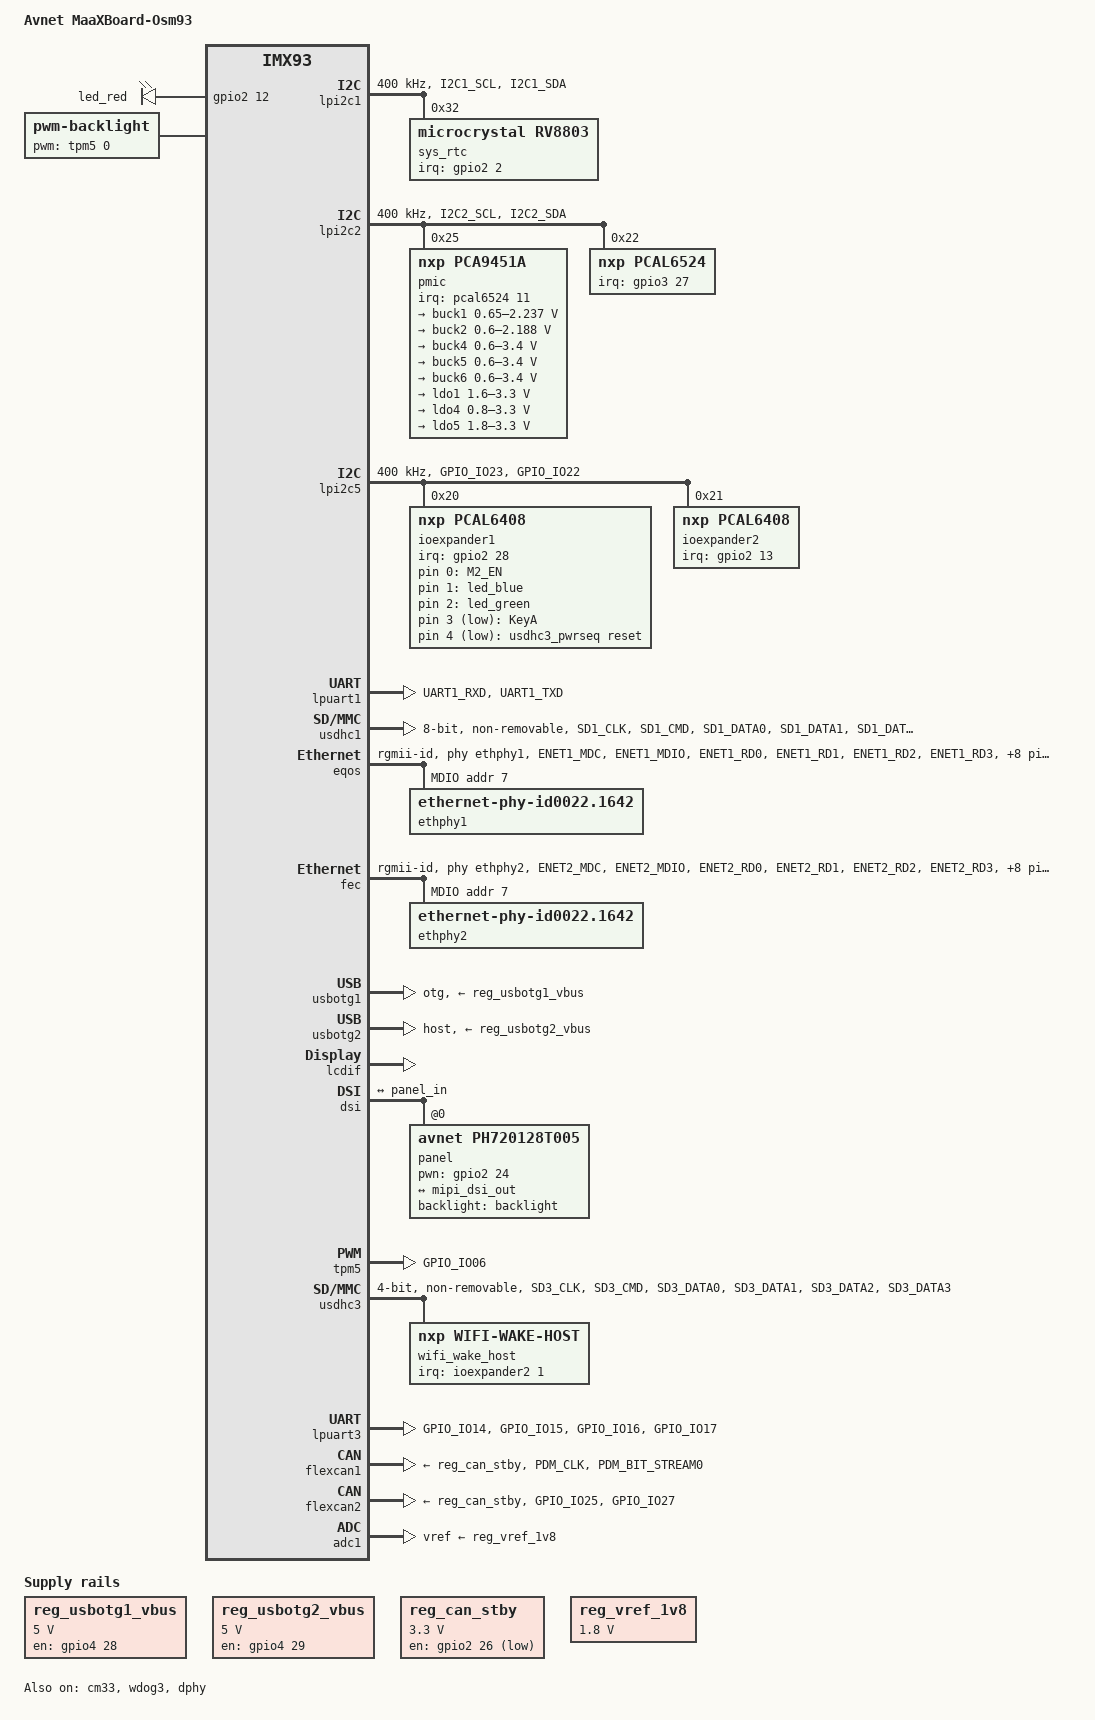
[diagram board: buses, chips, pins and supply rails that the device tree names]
// SPDX-License-Identifier: (GPL-2.0+ OR MIT)
/*
 * Copyright 2024 Avnet
 */

/dts-v1/;

#include <dt-bindings/usb/pd.h>
#include "imx93.dtsi"

&ele_fw2 {
	memory-region = <&ele_reserved>;
};

/ {
	model = "Avnet MaaXBoard-Osm93";
	compatible = "avnet,maaxboard-osm93", "fsl,imx93";

	aliases {
		rtc0 = &sys_rtc;
		rtc1 = &bbnsm_rtc;
	};

	chosen {
		stdout-path = &lpuart1;
	};

	reserved-memory {
		#address-cells = <2>;
		#size-cells = <2>;
		ranges;

		linux,cma {
			compatible = "shared-dma-pool";
			reusable;
			alloc-ranges = <0 0x80000000 0 0x40000000>;
			size = <0 0x10000000>;
			linux,cma-default;
		};

		ethosu_mem: ethosu_region@B0000000 {
			compatible = "shared-dma-pool";
			reusable;
			reg = <0x0 0xB0000000 0x0 0x8000000>;
		};

		vdev0vring0: vdev0vring0@a4000000 {
			reg = <0 0xa4000000 0 0x8000>;
			no-map;
		};

		vdev0vring1: vdev0vring1@a4008000 {
			reg = <0 0xa4008000 0 0x8000>;
			no-map;
		};

		vdev1vring0: vdev1vring0@a4010000 {
			reg = <0 0xa4010000 0 0x8000>;
			no-map;
		};

		vdev1vring1: vdev1vring1@a4018000 {
			reg = <0 0xa4018000 0 0x8000>;
			no-map;
		};

		rsc_table: rsc-table@2021e000 {
			reg = <0 0x2021e000 0 0x1000>;
			no-map;
		};

		vdevbuffer: vdevbuffer@a4020000 {
			compatible = "shared-dma-pool";
			reg = <0 0xa4020000 0 0x100000>;
			no-map;
		};

		ele_reserved: ele-reserved@a4120000 {
			compatible = "shared-dma-pool";
			reg = <0 0xa4120000 0 0x100000>;
			no-map;
		};
	};

	ethosu {
		compatible = "arm,ethosu";
		fsl,cm33-proc = <&cm33>;
		memory-region = <&ethosu_mem>;
		power-domains = <&mlmix>;
	};

	reg_usbotg1_vbus: regulator-usbotg1-vbus {
		compatible = "regulator-fixed";
		pinctrl-names = "default";
		pinctrl-0 = <&pinctrl_reg_usbotg1>;
		regulator-name = "regulator-usbotg1-vbus";
		gpio = <&gpio4 28 GPIO_ACTIVE_HIGH>;
		regulator-min-microvolt = <5000000>;
		regulator-max-microvolt = <5000000>;
		enable-active-high;
	};

	reg_usbotg2_vbus: regulator-usbotg2-vbus {
		compatible = "regulator-fixed";
		pinctrl-names = "default";
		pinctrl-0 = <&pinctrl_reg_usbotg2>;
		regulator-name = "regulator-usbotg2-vbus";
		gpio = <&gpio4 29 GPIO_ACTIVE_HIGH>;
		regulator-min-microvolt = <5000000>;
		regulator-max-microvolt = <5000000>;
		enable-active-high;
	};

	leds {
        compatible = "gpio-leds";
		pinctrl-names = "default";
		pinctrl-0 = <&pinctrl_gpio_leds>;
        status = "okay";

		M2_EN {
                gpios = <&ioexpander1 0 GPIO_ACTIVE_HIGH>;     /* WiFi/Bluetooth module power pin */
                default-state = "on";
        };

        led_red {
                gpios = <&gpio2 12 GPIO_ACTIVE_HIGH>;
				default-state = "on";
				linux,default-trigger = "heartbeat";

        };

        led_blue {
                gpios = <&ioexpander1 1 GPIO_ACTIVE_HIGH>;
                default-state = "off";
        };

        led_green {
                gpios = <&ioexpander1 2 GPIO_ACTIVE_HIGH>;
                default-state = "off";
        };
	};

	gpio_keys {
		compatible = "gpio-keys";

		UserKeyA {
			label = "KeyA";
			gpios = <&ioexpander1 3 GPIO_ACTIVE_LOW>;
			interrupt-parent = <&ioexpander1>;
			interrupts = <3 IRQ_TYPE_LEVEL_LOW>;
			linux,code = <KEY_1>;
		};
	};

	backlight: pwm-backlight {
	        compatible = "pwm-backlight";
	        pwms = <&tpm5 0 40000 0>;
	        brightness-levels = <0 8 32 64 96 128 160 192 224 255>;
	        default-brightness-level = <8>;
	        enable-pwm-on;
	        status = "okay";
	};
    
	/* wifi & bluetooth */
	usdhc3_pwrseq: usdhc3_pwrseq {
		compatible = "mmc-pwrseq-simple";
		reset-gpios = <&ioexpander1 4 GPIO_ACTIVE_LOW>;
	};

	reg_can_stby: regulator-can-stby {
		compatible = "regulator-fixed";
		pinctrl-names = "default";
		pinctrl-0 = <&pinctrl_reg_can>;
		regulator-name = "can-stby";
		regulator-min-microvolt = <3300000>;
		regulator-max-microvolt = <3300000>;
		gpio = <&gpio2 26 GPIO_ACTIVE_LOW>;
		enable-active-low;
	};

	reg_vref_1v8: regulator-adc-vref {
		compatible = "regulator-fixed";
		regulator-name = "vref_1v8";
		regulator-min-microvolt = <1800000>;
		regulator-max-microvolt = <1800000>;
	};

};

&cm33 {
	mbox-names = "tx", "rx", "rxdb";
	mboxes = <&mu1 0 1>,
		 <&mu1 1 1>,
		 <&mu1 3 1>;
	memory-region = <&vdevbuffer>, <&vdev0vring0>, <&vdev0vring1>,
			<&vdev1vring0>, <&vdev1vring1>, <&rsc_table>;
	fsl,startup-delay-ms = <500>;
	status = "okay";
};

&lpi2c1 {
	#address-cells = <1>;
	#size-cells = <0>;
	clock-frequency = <400000>;
	pinctrl-names = "default", "sleep";
	pinctrl-0 = <&pinctrl_lpi2c1>;
	pinctrl-1 = <&pinctrl_lpi2c1>;
	status = "okay";

	sys_rtc: rtc@32 {
		compatible = "microcrystal,rv8803";
		reg = <0x32>;
		pinctrl-names = "default";
		pinctrl-0 = <&pinctrl_rtc>;
		interrupt-parent = <&gpio2>;
		interrupts = <2 IRQ_TYPE_LEVEL_LOW>;
		wakeup-source;
	};

};

&lpi2c2 {
	#address-cells = <1>;
	#size-cells = <0>;
	clock-frequency = <400000>;
	pinctrl-names = "default", "sleep";
	pinctrl-0 = <&pinctrl_lpi2c2>;
	pinctrl-1 = <&pinctrl_lpi2c2>;
	status = "okay";

	pmic@25 {
		compatible = "nxp,pca9451a";
		reg = <0x25>;
		interrupt-parent = <&pcal6524>;
		interrupts = <11 IRQ_TYPE_EDGE_FALLING>;

		regulators {
			buck1: BUCK1 {
				regulator-name = "BUCK1";
				regulator-min-microvolt = <650000>;
				regulator-max-microvolt = <2237500>;
				regulator-boot-on;
				regulator-always-on;
				regulator-ramp-delay = <3125>;
			};

			buck2: BUCK2 {
				regulator-name = "BUCK2";
				regulator-min-microvolt = <600000>;
				regulator-max-microvolt = <2187500>;
				regulator-boot-on;
				regulator-always-on;
				regulator-ramp-delay = <3125>;
			};

			buck4: BUCK4{
				regulator-name = "BUCK4";
				regulator-min-microvolt = <600000>;
				regulator-max-microvolt = <3400000>;
				regulator-boot-on;
				regulator-always-on;
			};

			buck5: BUCK5{
				regulator-name = "BUCK5";
				regulator-min-microvolt = <600000>;
				regulator-max-microvolt = <3400000>;
				regulator-boot-on;
				regulator-always-on;
			};

			buck6: BUCK6 {
				regulator-name = "BUCK6";
				regulator-min-microvolt = <600000>;
				regulator-max-microvolt = <3400000>;
				regulator-boot-on;
				regulator-always-on;
			};

			ldo1: LDO1 {
				regulator-name = "LDO1";
				regulator-min-microvolt = <1600000>;
				regulator-max-microvolt = <3300000>;
				regulator-boot-on;
				regulator-always-on;
			};

			ldo4: LDO4 {
				regulator-name = "LDO4";
				regulator-min-microvolt = <800000>;
				regulator-max-microvolt = <3300000>;
				regulator-boot-on;
				regulator-always-on;
			};

			ldo5: LDO5 {
				regulator-name = "LDO5";
				regulator-min-microvolt = <1800000>;
				regulator-max-microvolt = <3300000>;
				regulator-boot-on;
				regulator-always-on;
			};
		};
	};

	pcal6524: gpio@22 {
		compatible = "nxp,pcal6524";
		pinctrl-names = "default";
		pinctrl-0 = <&pinctrl_pcal6524>;
		reg = <0x22>;
		gpio-controller;
		#gpio-cells = <2>;
		interrupt-controller;
		#interrupt-cells = <2>;
		interrupt-parent = <&gpio3>;
		interrupts = <27 IRQ_TYPE_LEVEL_LOW>;
	};
};

&lpi2c5 {
    #address-cells = <1>;
    #size-cells = <0>;
    clock-frequency = <400000>;
    pinctrl-names = "default", "sleep";
    pinctrl-0 = <&pinctrl_lpi2c5>;
    pinctrl-1 = <&pinctrl_lpi2c5>;
    status = "okay";

    ioexpander1: gpio@20 {
        compatible = "nxp,pcal6408";
        reg = <0x20>;
        pinctrl-names = "default";
        pinctrl-0 = <&pinctrl_ioexpander1>;
        interrupt-controller;
        #interrupt-cells = <2>;
        interrupt-parent = <&gpio2>;
        interrupts = <28 IRQ_TYPE_LEVEL_LOW>;
        gpio-controller;
        #gpio-cells = <2>;
        gpio-line-names =
                "GPIO_A_0", "GPIO_A_1", "GPIO_A_2", "GPIO_A_3",
                "GPIO_C_4", "GPIO_C_5", "GPIO_C_6", "GPIO_C_7";
        status = "okay";
    };

	ioexpander2: gpio@21 {
        compatible = "nxp,pcal6408";
        reg = <0x21>;
        pinctrl-names = "default";
        pinctrl-0 = <&pinctrl_ioexpander2>;
        interrupt-controller;
        #interrupt-cells = <2>;
        interrupt-parent = <&gpio2>;
        interrupts = <13 IRQ_TYPE_LEVEL_LOW>;
        gpio-controller;
        #gpio-cells = <2>;
        gpio-line-names =
                "GPIO_B_0", "GPIO_B_1", "GPIO_B_2", "GPIO_B_3",
                "GPIO_B_4", "GPIO_B_5", "GPIO_B_6", "GPIO_B_7";
        status = "okay";
    };
};

&lpuart1 { /* console */
	pinctrl-names = "default";
	pinctrl-0 = <&pinctrl_uart1>;
	status = "okay";
};

&usdhc1 {
	pinctrl-names = "default", "state_100mhz", "state_200mhz";
	pinctrl-0 = <&pinctrl_usdhc1>;
	pinctrl-1 = <&pinctrl_usdhc1_100mhz>;
	pinctrl-2 = <&pinctrl_usdhc1_200mhz>;
	bus-width = <8>;
	non-removable;
	status = "okay";
};

&wdog3 {
	status = "okay";
};

&eqos {
	pinctrl-names = "default";
	pinctrl-0 = <&pinctrl_eqos>;
	phy-mode = "rgmii-id";
	phy-handle = <&ethphy1>;
	status = "okay";
	mdio {
		compatible = "snps,dwmac-mdio";
		#address-cells = <1>;
		#size-cells = <0>;
		ethphy1: ethernet-phy@7 {
			compatible = "ethernet-phy-id0022.1642",
							"ethernet-phy-ieee802.3-c22";
			reg = <7>;
			eee-broken-100tx;
			eee-broken-1000t;
		};
	};
};

&fec {
	pinctrl-names = "default";
	pinctrl-0 = <&pinctrl_fec>;
	phy-mode = "rgmii-id";
	phy-handle = <&ethphy2>;
	fsl,magic-packet;
	status = "okay";
	mdio {
		#address-cells = <1>;
		#size-cells = <0>;
		clock-frequency = <5000000>;
		ethphy2: ethernet-phy@7 {
			compatible = "ethernet-phy-id0022.1642",
						"ethernet-phy-ieee802.3-c22";
			reg = <7>;
			eee-broken-100tx;
			eee-broken-1000t;
		};
	};
};	

&usbotg1 {
	dr_mode = "otg";
	hnp-disable;
	srp-disable;
	adp-disable;
	usb-role-switch;
	disable-over-current;
	samsung,picophy-pre-emp-curr-control = <3>;
	samsung,picophy-dc-vol-level-adjust = <7>;
	vbus-supply = <&reg_usbotg1_vbus>;
	status = "okay";
};

&usbotg2 {
	dr_mode = "host";
	disable-over-current;
	samsung,picophy-pre-emp-curr-control = <3>;
	samsung,picophy-dc-vol-level-adjust = <7>;
	vbus-supply = <&reg_usbotg2_vbus>;
	status = "okay";
};

&dphy {
	status = "okay";
};

&lcdif {
	status = "okay";
	assigned-clock-rates = <282000000>, <70500000>,  <400000000>, <133333333>;
	max-memory-bandwidth = <221257728>; /* 720x1280-32@60.02 */
};

&dsi{
	status = "okay";
	#address-cells = <1>;
	#size-cells = <0>;

	panel@0 {
		compatible = "avnet,ph720128t005", "ilitek,ili9881c";
		//compatible = "avnet,ph720128t003", "ilitek,ili9881c";
		reg = <0>;
		pinctrl-names = "default";
		pinctrl-0 = <&pinctrl_mipi_dsi_en>;
		pwn-gpios = <&gpio2 24 GPIO_ACTIVE_HIGH>;
		dsi-lanes = <2>;
		backlight = <&backlight>;

		port {
			panel_in: endpoint {
				remote-endpoint = <&mipi_dsi_out>;
			};
		};

	};

	ports {
		#address-cells = <1>;
		#size-cells = <0>;

		port@1 {
			reg = <1>;
			mipi_dsi_out: endpoint {
			remote-endpoint = <&panel_in>;
			};
		};
	};
};

&tpm5 {
	pinctrl-names = "default";
	pinctrl-0 = <&pinctrl_pwm5>;
	status = "okay";
};

&usdhc3 {
	pinctrl-names = "default", "state_100mhz", "state_200mhz";
	pinctrl-0 = <&pinctrl_usdhc3>;
	pinctrl-1 = <&pinctrl_usdhc3>;
	pinctrl-2 = <&pinctrl_usdhc3>;
	mmc-pwrseq = <&usdhc3_pwrseq>;
	max-frequency = <100000000>;
	bus-width = <4>;
	keep-power-in-suspend;
	non-removable;
	wakeup-source;
	fsl,sdio-async-interrupt-enabled;
	status = "okay";

	wifi_wake_host {
		compatible = "nxp,wifi-wake-host";
		interrupt-parent = <&ioexpander2>;
		interrupts = <1 IRQ_TYPE_LEVEL_LOW>;
		interrupt-names = "host-wake";
	};

};

&lpuart3 {
       /* BlueTooth */
       pinctrl-names = "default", "sleep";
       pinctrl-0 = <&pinctrl_lpuart3>;
       pinctrl-1 = <&pinctrl_lpuart3>;
       status = "okay";
};

&flexcan1 {
	pinctrl-names = "default";
	pinctrl-0 = <&pinctrl_flexcan1>;
	xceiver-supply = <&reg_can_stby>;
	status = "okay";
};

&flexcan2 {
	pinctrl-names = "default";
	pinctrl-0 = <&pinctrl_flexcan2>;
	xceiver-supply = <&reg_can_stby>;
	status = "okay";
};

&adc1 {
	vref-supply = <&reg_vref_1v8>;
	status = "okay";
};

&iomuxc {
	pinctrl_lpi2c1: lpi2c1grp {
		fsl,pins = <
			MX93_PAD_I2C1_SCL__LPI2C1_SCL			0x40000b9e
			MX93_PAD_I2C1_SDA__LPI2C1_SDA			0x40000b9e
		>;
	};

	pinctrl_ts: ts_pinsgrp {
		fsl,pins = <
			MX93_PAD_PDM_BIT_STREAM1__GPIO1_IO10	   0x31e  /* DSI_TS_RST  */
			MX93_PAD_GPIO_IO29__GPIO2_IO29             0x31e
		>;
	};

	pinctrl_lpi2c2: lpi2c2grp {
		fsl,pins = <
			MX93_PAD_I2C2_SCL__LPI2C2_SCL			0x40000b9e
			MX93_PAD_I2C2_SDA__LPI2C2_SDA			0x40000b9e
		>;
	};

	pinctrl_pcal6524: pcal6524grp {
		fsl,pins = <
			MX93_PAD_CCM_CLKO2__GPIO3_IO27			0x31e
		>;
	};

	pinctrl_uart1: uart1grp {
		fsl,pins = <
			MX93_PAD_UART1_RXD__LPUART1_RX			0x31e
			MX93_PAD_UART1_TXD__LPUART1_TX			0x31e
		>;
	};

	/* need to config the SION for data and cmd pad, refer to ERR052021 */
	pinctrl_usdhc1: usdhc1grp {
		fsl,pins = <
			MX93_PAD_SD1_CLK__USDHC1_CLK		0x1582
			MX93_PAD_SD1_CMD__USDHC1_CMD		0x40001382
			MX93_PAD_SD1_DATA0__USDHC1_DATA0	0x40001382
			MX93_PAD_SD1_DATA1__USDHC1_DATA1	0x40001382
			MX93_PAD_SD1_DATA2__USDHC1_DATA2	0x40001382
			MX93_PAD_SD1_DATA3__USDHC1_DATA3	0x40001382
			MX93_PAD_SD1_DATA4__USDHC1_DATA4	0x40001382
			MX93_PAD_SD1_DATA5__USDHC1_DATA5	0x40001382
			MX93_PAD_SD1_DATA6__USDHC1_DATA6	0x40001382
			MX93_PAD_SD1_DATA7__USDHC1_DATA7	0x40001382
			MX93_PAD_SD1_STROBE__USDHC1_STROBE	0x1582
		>;
	};

	/* need to config the SION for data and cmd pad, refer to ERR052021 */
	pinctrl_usdhc1_100mhz: usdhc1-100mhzgrp {
		fsl,pins = <
			MX93_PAD_SD1_CLK__USDHC1_CLK		0x158e
			MX93_PAD_SD1_CMD__USDHC1_CMD		0x4000138e
			MX93_PAD_SD1_DATA0__USDHC1_DATA0	0x4000138e
			MX93_PAD_SD1_DATA1__USDHC1_DATA1	0x4000138e
			MX93_PAD_SD1_DATA2__USDHC1_DATA2	0x4000138e
			MX93_PAD_SD1_DATA3__USDHC1_DATA3	0x4000138e
			MX93_PAD_SD1_DATA4__USDHC1_DATA4	0x4000138e
			MX93_PAD_SD1_DATA5__USDHC1_DATA5	0x4000138e
			MX93_PAD_SD1_DATA6__USDHC1_DATA6	0x4000138e
			MX93_PAD_SD1_DATA7__USDHC1_DATA7	0x4000138e
			MX93_PAD_SD1_STROBE__USDHC1_STROBE	0x158e
		>;
	};

	/* need to config the SION for data and cmd pad, refer to ERR052021 */
	pinctrl_usdhc1_200mhz: usdhc1-200mhzgrp {
		fsl,pins = <
			MX93_PAD_SD1_CLK__USDHC1_CLK		0x15fe
			MX93_PAD_SD1_CMD__USDHC1_CMD		0x400013fe
			MX93_PAD_SD1_DATA0__USDHC1_DATA0	0x400013fe
			MX93_PAD_SD1_DATA1__USDHC1_DATA1	0x400013fe
			MX93_PAD_SD1_DATA2__USDHC1_DATA2	0x400013fe
			MX93_PAD_SD1_DATA3__USDHC1_DATA3	0x400013fe
			MX93_PAD_SD1_DATA4__USDHC1_DATA4	0x400013fe
			MX93_PAD_SD1_DATA5__USDHC1_DATA5	0x400013fe
			MX93_PAD_SD1_DATA6__USDHC1_DATA6	0x400013fe
			MX93_PAD_SD1_DATA7__USDHC1_DATA7	0x400013fe
			MX93_PAD_SD1_STROBE__USDHC1_STROBE	0x15fe
		>;
	};
    
	pinctrl_eqos: eqosgrp {
	        fsl,pins = <
	                MX93_PAD_ENET1_MDC__ENET_QOS_MDC                        0x57e
	                MX93_PAD_ENET1_MDIO__ENET_QOS_MDIO                      0x57e
	                MX93_PAD_ENET1_RD0__ENET_QOS_RGMII_RD0                  0x57e
	                MX93_PAD_ENET1_RD1__ENET_QOS_RGMII_RD1                  0x57e
	                MX93_PAD_ENET1_RD2__ENET_QOS_RGMII_RD2                  0x57e
	                MX93_PAD_ENET1_RD3__ENET_QOS_RGMII_RD3                  0x57e
	                MX93_PAD_ENET1_RXC__CCM_ENET_QOS_CLOCK_GENERATE_RX_CLK  0x5fe
	                MX93_PAD_ENET1_RX_CTL__ENET_QOS_RGMII_RX_CTL            0x57e
	                MX93_PAD_ENET1_TD0__ENET_QOS_RGMII_TD0                  0x57e
	                MX93_PAD_ENET1_TD1__ENET_QOS_RGMII_TD1                  0x57e
	                MX93_PAD_ENET1_TD2__ENET_QOS_RGMII_TD2                  0x57e
	                MX93_PAD_ENET1_TD3__ENET_QOS_RGMII_TD3                  0x57e
	                MX93_PAD_ENET1_TXC__CCM_ENET_QOS_CLOCK_GENERATE_TX_CLK  0x5fe
	                MX93_PAD_ENET1_TX_CTL__ENET_QOS_RGMII_TX_CTL            0x57e
	        >;
	};

	pinctrl_fec: fecgrp {
	        fsl,pins = <
	                MX93_PAD_ENET2_MDC__ENET1_MDC                   0x57e
	                MX93_PAD_ENET2_MDIO__ENET1_MDIO                 0x57e
	                MX93_PAD_ENET2_RD0__ENET1_RGMII_RD0             0x57e
	                MX93_PAD_ENET2_RD1__ENET1_RGMII_RD1             0x57e
	                MX93_PAD_ENET2_RD2__ENET1_RGMII_RD2             0x57e
	                MX93_PAD_ENET2_RD3__ENET1_RGMII_RD3             0x57e
	                MX93_PAD_ENET2_RXC__ENET1_RGMII_RXC             0x5fe
	                MX93_PAD_ENET2_RX_CTL__ENET1_RGMII_RX_CTL       0x57e
	                MX93_PAD_ENET2_TD0__ENET1_RGMII_TD0             0x57e
	                MX93_PAD_ENET2_TD1__ENET1_RGMII_TD1             0x57e
	                MX93_PAD_ENET2_TD2__ENET1_RGMII_TD2             0x57e
	                MX93_PAD_ENET2_TD3__ENET1_RGMII_TD3             0x57e
	                MX93_PAD_ENET2_TXC__ENET1_RGMII_TXC             0x5fe
	                MX93_PAD_ENET2_TX_CTL__ENET1_RGMII_TX_CTL       0x57e
	        >;
	};

	pinctrl_reg_usbotg1: regusbotg1grp {
		fsl,pins = <
			MX93_PAD_CCM_CLKO3__GPIO4_IO28			0x51e
		>;
	};

	pinctrl_reg_usbotg2: regusbotg2grp {
		fsl,pins = <
			MX93_PAD_CCM_CLKO4__GPIO4_IO29			0x51e
		>;
	};

	pinctrl_lpi2c5: lpi2c5grp {
	        fsl,pins = <
	                MX93_PAD_GPIO_IO23__LPI2C5_SCL                  0x4000091e
	                MX93_PAD_GPIO_IO22__LPI2C5_SDA                  0x4000091e
	        >;
	};
	pinctrl_ioexpander1: ioexpander1grp {
	        fsl,pins = <
	                MX93_PAD_GPIO_IO28__GPIO2_IO28                  0x31e
	        >;
	};

	pinctrl_gpio_leds: gpioleds {
		fsl,pins = <
			MX93_PAD_GPIO_IO12__GPIO2_IO12		0x51e
		>;
	};

	pinctrl_mipi_dsi_en: mipi_dsi_en {
		fsl,pins = <
			MX93_PAD_GPIO_IO24__GPIO2_IO24      0x11e  /* DSI_EN */
		>;
	};

	pinctrl_pwm5: pwm5_grp {
		fsl,pins = <
			MX93_PAD_GPIO_IO06__TPM5_CH0        0x11e
		>;
	};

	pinctrl_usdhc3: usdhc3grp {
		fsl,pins = <
			MX93_PAD_SD3_CLK__USDHC3_CLK		0x15fe
			MX93_PAD_SD3_CMD__USDHC3_CMD		0x13fe
			MX93_PAD_SD3_DATA0__USDHC3_DATA0	0x13fe
			MX93_PAD_SD3_DATA1__USDHC3_DATA1	0x13fe
			MX93_PAD_SD3_DATA2__USDHC3_DATA2	0x13fe
			MX93_PAD_SD3_DATA3__USDHC3_DATA3	0x13fe
		>;
	};

	pinctrl_lpuart3: uart3grp {
		fsl,pins = <
			MX93_PAD_GPIO_IO14__LPUART3_TX		0x31e
			MX93_PAD_GPIO_IO15__LPUART3_RX		0x31e
			MX93_PAD_GPIO_IO16__LPUART3_CTS_B	0x31e
			MX93_PAD_GPIO_IO17__LPUART3_RTS_B	0x31e
		>;
	};

	pinctrl_ioexpander2: ioexpander2grp {
	        fsl,pins = <
					MX93_PAD_GPIO_IO13__GPIO2_IO13                  0x31e
	        >;
	};

	pinctrl_reg_can: regcangrp {
		fsl,pins = <
			MX93_PAD_GPIO_IO26__GPIO2_IO26		0x31e
		>;
	};

	pinctrl_flexcan1: flexcan1grp {
		fsl,pins = <
			MX93_PAD_PDM_CLK__CAN1_TX			0x139e
			MX93_PAD_PDM_BIT_STREAM0__CAN1_RX	0x139e
		>;
	};

	pinctrl_flexcan2: flexcan2grp {
		fsl,pins = <
			MX93_PAD_GPIO_IO25__CAN2_TX			0x139e
			MX93_PAD_GPIO_IO27__CAN2_RX			0x139e
		>;
	};

	pinctrl_rtc: regrtcgrp {
		fsl,pins = <
			MX93_PAD_GPIO_IO02__GPIO2_IO02		0x111e
		>;
	};

};
